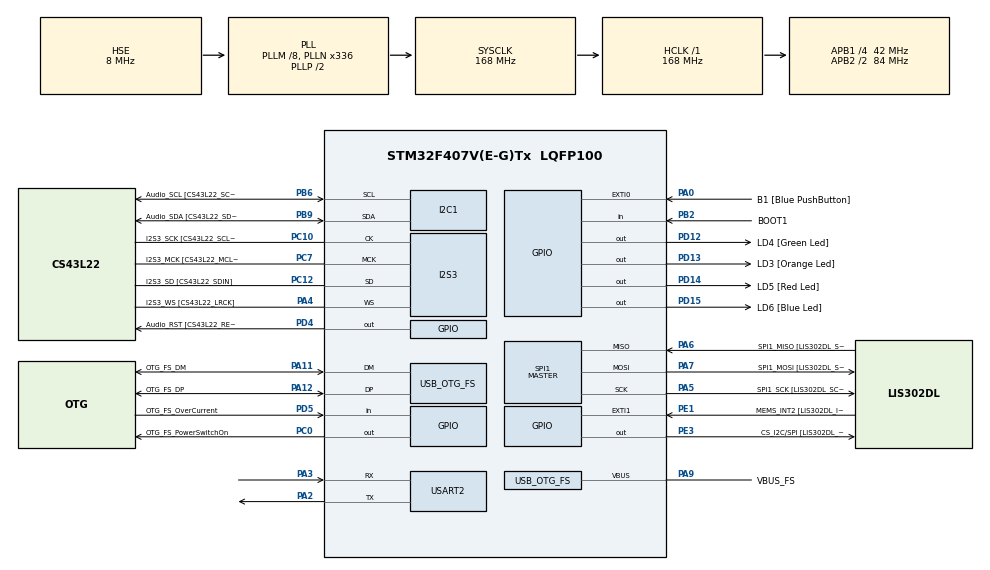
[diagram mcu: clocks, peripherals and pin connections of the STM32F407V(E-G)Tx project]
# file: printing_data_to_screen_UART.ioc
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I2S3.AudioFreq-Half_Duplex_Master=I2S_AUDIOFREQ_96K
I2S3.ErrorAudioFreq=-2.34 %
I2S3.ErrorAudioFreq-Half_Duplex_Master=0.8 %
I2S3.FullDuplexMode=I2S_FULLDUPLEXMODE_DISABLE
I2S3.Instance=SPI$Index
I2S3.RealAudioFreq=93.75 KHz
I2S3.RealAudioFreq-Half_Duplex_Master=96.774 KHz
I2S3.VirtualMode=I2S_MODE_MASTER
Mcu.Family=STM32F4
Mcu.Name=STM32F407V(E-G)Tx
Mcu.Package=LQFP100
NVIC.OTG_FS_IRQn=true\:0\:0\:false\:false\:true\:true\:true\:true
NVIC.PriorityGroup=NVIC_PRIORITYGROUP_0
NVIC.USART2_IRQn=true\:0\:0\:false\:false\:true\:true\:true\:true
PA0-WKUP.GPIO_Label=B1 [Blue PushButton]
PA0-WKUP.GPIO_ModeDefaultEXTI=GPIO_MODE_EVT_RISING
PA0-WKUP.GPIO_PuPd=GPIO_NOPULL
PA0-WKUP.Signal=GPXTI0
PA10.GPIO_Label=OTG_FS_ID
PA10.GPIO_Mode=GPIO_MODE_AF_PP
PA10.GPIO_PuPd=GPIO_NOPULL
PA10.GPIO_Speed=GPIO_SPEED_FREQ_LOW
PA10.Signal=USB_OTG_FS_ID
PA11.GPIO_Label=OTG_FS_DM
PA11.GPIO_Mode=GPIO_MODE_AF_PP
PA11.GPIO_PuPd=GPIO_NOPULL
PA11.GPIO_Speed=GPIO_SPEED_FREQ_LOW
PA11.Mode=Host_Only
PA11.Signal=USB_OTG_FS_DM
PA12.GPIO_Label=OTG_FS_DP
PA12.GPIO_Mode=GPIO_MODE_AF_PP
PA12.GPIO_PuPd=GPIO_NOPULL
PA12.GPIO_Speed=GPIO_SPEED_FREQ_LOW
PA12.Mode=Host_Only
PA12.Signal=USB_OTG_FS_DP
PA13.GPIO_Label=SWDIO
PA13.Mode=Serial_Wire
PA13.Signal=SYS_JTMS-SWDIO
PA14.GPIO_Label=SWCLK
PA14.Mode=Serial_Wire
PA14.Signal=SYS_JTCK-SWCLK
PA2.Mode=Asynchronous
PA2.Signal=USART2_TX
PA3.Mode=Asynchronous
PA3.Signal=USART2_RX
PA4.GPIO_Label=I2S3_WS [CS43L22_LRCK]
PA4.GPIO_Mode=GPIO_MODE_AF_PP
PA4.GPIO_PuPd=GPIO_NOPULL
PA4.GPIO_Speed=GPIO_SPEED_FREQ_LOW
PA4.Mode=Half_Duplex_Master
PA4.Signal=I2S3_WS
PA5.GPIO_Label=SPI1_SCK [LIS302DL_SCL/SPC]
PA5.GPIO_Mode=GPIO_MODE_AF_PP
PA5.GPIO_PuPd=GPIO_NOPULL
PA5.GPIO_Speed=GPIO_SPEED_FREQ_LOW
PA5.Mode=Full_Duplex_Master
PA5.Signal=SPI1_SCK
PA6.GPIO_Label=SPI1_MISO [LIS302DL_SDO]
PA6.GPIO_Mode=GPIO_MODE_AF_PP
PA6.GPIO_PuPd=GPIO_NOPULL
PA6.GPIO_Speed=GPIO_SPEED_FREQ_LOW
PA6.Mode=Full_Duplex_Master
PA6.Signal=SPI1_MISO
PA7.GPIO_Label=SPI1_MOSI [LIS302DL_SDA/SDI/SDO]
PA7.GPIO_Mode=GPIO_MODE_AF_PP
PA7.GPIO_PuPd=GPIO_NOPULL
PA7.GPIO_Speed=GPIO_SPEED_FREQ_LOW
PA7.Mode=Full_Duplex_Master
PA7.Signal=SPI1_MOSI
PA9.GPIO_Label=VBUS_FS
PA9.GPIO_Mode=GPIO_MODE_INPUT
PA9.GPIO_PuPd=GPIO_NOPULL
PA9.Mode=Activate_VBUS
PA9.Signal=USB_OTG_FS_VBUS
PB10.GPIO_Label=CLK_IN [MP45DT02_CLK]
PB10.GPIO_Mode=GPIO_MODE_AF_PP
PB10.GPIO_PuPd=GPIO_NOPULL
PB10.GPIO_Speed=GPIO_SPEED_FREQ_LOW
PB10.Signal=I2S2_CK
PB2.GPIO_Label=BOOT1
PB2.GPIO_Mode=GPIO_MODE_INPUT
PB2.GPIO_PuPd=GPIO_NOPULL
PB2.Signal=GPIO_Input
PB3.GPIO_Label=SWO
PB3.Signal=SYS_JTDO-SWO
PB6.GPIO_Label=Audio_SCL [CS43L22_SCL]
PB6.GPIO_Mode=GPIO_MODE_AF_OD
PB6.GPIO_Pu=GPIO_PULLUP
PB6.GPIO_PuPd=GPIO_NOPULL
PB6.GPIO_Speed=GPIO_SPEED_FREQ_LOW
PB6.Mode=I2C
PB6.Signal=I2C1_SCL
PB9.GPIO_Label=Audio_SDA [CS43L22_SDA]
PB9.GPIO_Mode=GPIO_MODE_AF_OD
PB9.GPIO_Pu=GPIO_PULLUP
PB9.GPIO_PuPd=GPIO_NOPULL
PB9.GPIO_Speed=GPIO_SPEED_FREQ_LOW
PB9.Mode=I2C
PB9.Signal=I2C1_SDA
PC0.GPIO_Label=OTG_FS_PowerSwitchOn
PC0.GPIO_PuPd=GPIO_NOPULL
PC0.GPIO_Speed=GPIO_SPEED_FREQ_LOW
PC0.PinState=GPIO_PIN_SET
PC0.Signal=GPIO_Output
PC10.GPIO_Label=I2S3_SCK [CS43L22_SCLK]
PC10.GPIO_Mode=GPIO_MODE_AF_PP
PC10.GPIO_PuPd=GPIO_NOPULL
PC10.GPIO_Speed=GPIO_SPEED_FREQ_LOW
PC10.Mode=Half_Duplex_Master
PC10.Signal=I2S3_CK
PC12.GPIO_Label=I2S3_SD [CS43L22_SDIN]
PC12.GPIO_Mode=GPIO_MODE_AF_PP
PC12.GPIO_PuPd=GPIO_NOPULL
PC12.GPIO_Speed=GPIO_SPEED_FREQ_LOW
PC12.Mode=Half_Duplex_Master
PC12.Signal=I2S3_SD
PC14-OSC32_IN.GPIO_Label=PC14-OSC32_IN
PC14-OSC32_IN.Mode=LSE-External-Oscillator
PC14-OSC32_IN.Signal=RCC_OSC32_IN
PC15-OSC32_OUT.GPIO_Label=PC15-OSC32_OUT
PC15-OSC32_OUT.Mode=LSE-External-Oscillator
PC15-OSC32_OUT.Signal=RCC_OSC32_OUT
PC3.GPIO_Label=PDM_OUT [MP45DT02_DOUT]
PC3.GPIO_Mode=GPIO_MODE_AF_PP
PC3.GPIO_PuPd=GPIO_NOPULL
PC3.GPIO_Speed=GPIO_SPEED_FREQ_LOW
PC3.Signal=I2S2_SD
PC7.GPIO_Label=I2S3_MCK [CS43L22_MCLK]
PC7.GPIO_Mode=GPIO_MODE_AF_PP
PC7.GPIO_PuPd=GPIO_NOPULL
PC7.GPIO_Speed=GPIO_SPEED_FREQ_LOW
PC7.Mode=Master_Clock_Activated
PC7.Signal=I2S3_MCK
PD12.GPIO_Label=LD4 [Green Led]
PD12.GPIO_PuPd=GPIO_NOPULL
PD12.GPIO_Speed=GPIO_SPEED_FREQ_LOW
PD12.Signal=GPIO_Output
PD13.GPIO_Label=LD3 [Orange Led]
PD13.GPIO_PuPd=GPIO_NOPULL
PD13.GPIO_Speed=GPIO_SPEED_FREQ_LOW
PD13.Signal=GPIO_Output
PD14.GPIO_Label=LD5 [Red Led]
PD14.GPIO_PuPd=GPIO_NOPULL
PD14.GPIO_Speed=GPIO_SPEED_FREQ_LOW
PD14.Signal=GPIO_Output
PD15.GPIO_Label=LD6 [Blue Led]
PD15.GPIO_PuPd=GPIO_NOPULL
PD15.GPIO_Speed=GPIO_SPEED_FREQ_LOW
PD15.Signal=GPIO_Output
PD4.GPIO_Label=Audio_RST [CS43L22_RESET]
PD4.GPIO_PuPd=GPIO_NOPULL
PD4.GPIO_Speed=GPIO_SPEED_FREQ_LOW
PD4.Signal=GPIO_Output
PD5.GPIO_Label=OTG_FS_OverCurrent
PD5.GPIO_Mode=GPIO_MODE_INPUT
PD5.GPIO_PuPd=GPIO_NOPULL
PD5.Signal=GPIO_Input
PE1.GPIO_Label=MEMS_INT2 [LIS302DL_INT2]
PE1.GPIO_ModeDefaultEXTI=GPIO_MODE_EVT_RISING
PE1.GPIO_PuPd=GPIO_NOPULL
PE1.Signal=GPXTI1
PE3.GPIO_Label=CS_I2C/SPI [LIS302DL_CS_I2C/SPI]
PE3.GPIO_PuPd=GPIO_NOPULL
PE3.GPIO_Speed=GPIO_SPEED_FREQ_LOW
PE3.Signal=GPIO_Output
PH0-OSC_IN.GPIO_Label=PH0-OSC_IN
PH0-OSC_IN.Mode=HSE-External-Oscillator
PH0-OSC_IN.Signal=RCC_OSC_IN
PH1-OSC_OUT.GPIO_Label=PH1-OSC_OUT
PH1-OSC_OUT.Mode=HSE-External-Oscillator
PH1-OSC_OUT.Signal=RCC_OSC_OUT
ProjectManager.HeapSize=0x200
ProjectManager.StackSize=0x400
ProjectManager.TargetToolchain=STM32CubeIDE
RCC.48MHZClocksFreq_Value=48000000
RCC.AHBFreq_Value=168000000
RCC.APB1CLKDivider=RCC_HCLK_DIV4
RCC.APB1Freq_Value=42000000
RCC.APB1TimFreq_Value=84000000
RCC.APB2CLKDivider=RCC_HCLK_DIV2
RCC.APB2Freq_Value=84000000
RCC.APB2TimFreq_Value=168000000
RCC.CortexFreq_Value=168000000
RCC.HCLKFreq_Value=168000000
RCC.HSE_VALUE=8000000
RCC.HSI_VALUE=16000000
RCC.PLLM=8
RCC.PLLN=336
RCC.PLLQ=7
RCC.SYSCLKFreq_VALUE=168000000
RCC.SYSCLKSource=RCC_SYSCLKSOURCE_PLLCLK
RCC.VCOOutputFreq_Value=336000000
SPI1.BaudRatePrescaler-Full_Duplex_Master=SPI_BAUDRATEPRESCALER_2
SPI1.CalculateBaudRate-Full_Duplex_Master=42.0 MBits/s
SPI1.Direction=SPI_DIRECTION_2LINES
SPI1.Mode=SPI_MODE_MASTER
SPI1.Mode-Full_Duplex_Master=SPI_MODE_MASTER
SPI1.VirtualType=VM_MASTER
USART2.VirtualMode=VM_ASYNC
USB_HOST.BSP.number=1
USB_HOST.USBH_HandleTypeDef-CDC_FS=hUsbHostFS
USB_HOST.VirtualModeFS=Cdc
USB_HOST0.BSP.STBoard=false
USB_HOST0.BSP.api=Unknown
USB_HOST0.BSP.instance=PC0
USB_HOST0.BSP.ip=GPIO
USB_HOST0.BSP.mode=Output
USB_HOST0.BSP.name=Drive_VBUS_FS
USB_HOST0.BSP.solution=PC0
USB_OTG_FS.VirtualMode=Host_Only
USB_OTG_FS.phy_itface=HCD_PHY_EMBEDDED
VP_USB_HOST_VS_USB_HOST_CDC_FS.Mode=CDC_FS
board=STM32F407G-DISC1

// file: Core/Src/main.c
/* USER CODE BEGIN Header */
/**
  ******************************************************************************
  * @file           : main.c
  * @brief          : Main program body
  ******************************************************************************
  * @attention
  *
  * Copyright (c) 2026 STMicroelectronics.
  * All rights reserved.
  *
  * This software is licensed under terms that can be found in the LICENSE file
  * in the root directory of this software component.
  * If no LICENSE file comes with this software, it is provided AS-IS.
  *
  ******************************************************************************
  */
/* USER CODE END Header */
#include "main.h"
#include "usb_host.h"

/* USER CODE BEGIN Includes */
#include<stdio.h>
#include<string.h>
/* USER CODE END Includes */

I2C_HandleTypeDef hi2c1;

I2S_HandleTypeDef hi2s3;

SPI_HandleTypeDef hspi1;

UART_HandleTypeDef huart2;

/* USER CODE BEGIN PV */
uint8_t status = 0;
uint32_t total_second = 0;
uint32_t time1 = 0;
char buffer[40];
uint8_t counter = 0;
uint8_t minute = 0;
uint8_t second = 0;
uint8_t end[] = {0xFF,0xFF,0xFF};
/* USER CODE END PV */

void SystemClock_Config(void);
static void MX_GPIO_Init(void);
static void MX_I2C1_Init(void);
static void MX_I2S3_Init(void);
static void MX_SPI1_Init(void);
static void MX_USART2_UART_Init(void);
void MX_USB_HOST_Process(void);

/* USER CODE BEGIN PFP */
void count(void);
void time(void);
/* USER CODE END PFP */

int main(void)
{

  /* MCU Configuration--------------------------------------------------------*/

  /* Reset of all peripherals, Initializes the Flash interface and the Systick. */
  HAL_Init();

  /* Configure the system clock */
  SystemClock_Config();

  /* Initialize all configured peripherals */
  MX_GPIO_Init();
  MX_I2C1_Init();
  MX_I2S3_Init();
  MX_SPI1_Init();
  MX_USART2_UART_Init();
  MX_USB_HOST_Init();

  /* Infinite loop */
  while (1)
  {
    MX_USB_HOST_Process();

    /* USER CODE BEGIN 3 */
    count();
    time();

  }
  /* USER CODE END 3 */
}

void SystemClock_Config(void)
{
  RCC_OscInitTypeDef RCC_OscInitStruct = {0};
  RCC_ClkInitTypeDef RCC_ClkInitStruct = {0};

  /** Configure the main internal regulator output voltage
  */
  __HAL_RCC_PWR_CLK_ENABLE();
  __HAL_PWR_VOLTAGESCALING_CONFIG(PWR_REGULATOR_VOLTAGE_SCALE1);

  /** Initializes the RCC Oscillators according to the specified parameters
  * in the RCC_OscInitTypeDef structure.
  */
  RCC_OscInitStruct.OscillatorType = RCC_OSCILLATORTYPE_HSE;
  RCC_OscInitStruct.HSEState = RCC_HSE_ON;
  RCC_OscInitStruct.PLL.PLLState = RCC_PLL_ON;
  RCC_OscInitStruct.PLL.PLLSource = RCC_PLLSOURCE_HSE;
  RCC_OscInitStruct.PLL.PLLM = 8;
  RCC_OscInitStruct.PLL.PLLN = 336;
  RCC_OscInitStruct.PLL.PLLP = RCC_PLLP_DIV2;
  RCC_OscInitStruct.PLL.PLLQ = 7;
  if (HAL_RCC_OscConfig(&RCC_OscInitStruct) != HAL_OK)
  {
    Error_Handler();
  }

  /** Initializes the CPU, AHB and APB buses clocks
  */
  RCC_ClkInitStruct.ClockType = RCC_CLOCKTYPE_HCLK|RCC_CLOCKTYPE_SYSCLK
                              |RCC_CLOCKTYPE_PCLK1|RCC_CLOCKTYPE_PCLK2;
  RCC_ClkInitStruct.SYSCLKSource = RCC_SYSCLKSOURCE_PLLCLK;
  RCC_ClkInitStruct.AHBCLKDivider = RCC_SYSCLK_DIV1;
  RCC_ClkInitStruct.APB1CLKDivider = RCC_HCLK_DIV4;
  RCC_ClkInitStruct.APB2CLKDivider = RCC_HCLK_DIV2;

  if (HAL_RCC_ClockConfig(&RCC_ClkInitStruct, FLASH_LATENCY_5) != HAL_OK)
  {
    Error_Handler();
  }
}

static void MX_I2C1_Init(void)
{

  hi2c1.Instance = I2C1;
  hi2c1.Init.ClockSpeed = 100000;
  hi2c1.Init.DutyCycle = I2C_DUTYCYCLE_2;
  hi2c1.Init.OwnAddress1 = 0;
  hi2c1.Init.AddressingMode = I2C_ADDRESSINGMODE_7BIT;
  hi2c1.Init.DualAddressMode = I2C_DUALADDRESS_DISABLE;
  hi2c1.Init.OwnAddress2 = 0;
  hi2c1.Init.GeneralCallMode = I2C_GENERALCALL_DISABLE;
  hi2c1.Init.NoStretchMode = I2C_NOSTRETCH_DISABLE;
  if (HAL_I2C_Init(&hi2c1) != HAL_OK)
  {
    Error_Handler();
  }

}

static void MX_I2S3_Init(void)
{

  hi2s3.Instance = SPI3;
  hi2s3.Init.Mode = I2S_MODE_MASTER_TX;
  hi2s3.Init.Standard = I2S_STANDARD_PHILIPS;
  hi2s3.Init.DataFormat = I2S_DATAFORMAT_16B;
  hi2s3.Init.MCLKOutput = I2S_MCLKOUTPUT_ENABLE;
  hi2s3.Init.AudioFreq = I2S_AUDIOFREQ_96K;
  hi2s3.Init.CPOL = I2S_CPOL_LOW;
  hi2s3.Init.ClockSource = I2S_CLOCK_PLL;
  hi2s3.Init.FullDuplexMode = I2S_FULLDUPLEXMODE_DISABLE;
  if (HAL_I2S_Init(&hi2s3) != HAL_OK)
  {
    Error_Handler();
  }

}

static void MX_SPI1_Init(void)
{

  /* SPI1 parameter configuration*/
  hspi1.Instance = SPI1;
  hspi1.Init.Mode = SPI_MODE_MASTER;
  hspi1.Init.Direction = SPI_DIRECTION_2LINES;
  hspi1.Init.DataSize = SPI_DATASIZE_8BIT;
  hspi1.Init.CLKPolarity = SPI_POLARITY_LOW;
  hspi1.Init.CLKPhase = SPI_PHASE_1EDGE;
  hspi1.Init.NSS = SPI_NSS_SOFT;
  hspi1.Init.BaudRatePrescaler = SPI_BAUDRATEPRESCALER_2;
  hspi1.Init.FirstBit = SPI_FIRSTBIT_MSB;
  hspi1.Init.TIMode = SPI_TIMODE_DISABLE;
  hspi1.Init.CRCCalculation = SPI_CRCCALCULATION_DISABLE;
  hspi1.Init.CRCPolynomial = 10;
  if (HAL_SPI_Init(&hspi1) != HAL_OK)
  {
    Error_Handler();
  }

}

static void MX_USART2_UART_Init(void)
{

  huart2.Instance = USART2;
  huart2.Init.BaudRate = 115200;
  huart2.Init.WordLength = UART_WORDLENGTH_8B;
  huart2.Init.StopBits = UART_STOPBITS_1;
  huart2.Init.Parity = UART_PARITY_NONE;
  huart2.Init.Mode = UART_MODE_TX_RX;
  huart2.Init.HwFlowCtl = UART_HWCONTROL_NONE;
  huart2.Init.OverSampling = UART_OVERSAMPLING_16;
  if (HAL_UART_Init(&huart2) != HAL_OK)
  {
    Error_Handler();
  }

}

static void MX_GPIO_Init(void)
{
  GPIO_InitTypeDef GPIO_InitStruct = {0};

  /* GPIO Ports Clock Enable */
  __HAL_RCC_GPIOE_CLK_ENABLE();
  __HAL_RCC_GPIOC_CLK_ENABLE();
  __HAL_RCC_GPIOH_CLK_ENABLE();
  __HAL_RCC_GPIOA_CLK_ENABLE();
  __HAL_RCC_GPIOB_CLK_ENABLE();
  __HAL_RCC_GPIOD_CLK_ENABLE();

  /*Configure GPIO pin Output Level */
  HAL_GPIO_WritePin(CS_I2C_SPI_GPIO_Port, CS_I2C_SPI_Pin, GPIO_PIN_RESET);

  /*Configure GPIO pin Output Level */
  HAL_GPIO_WritePin(OTG_FS_PowerSwitchOn_GPIO_Port, OTG_FS_PowerSwitchOn_Pin, GPIO_PIN_SET);

  /*Configure GPIO pin Output Level */
  HAL_GPIO_WritePin(GPIOD, LD4_Pin|LD3_Pin|LD5_Pin|LD6_Pin
                          |Audio_RST_Pin, GPIO_PIN_RESET);

  /*Configure GPIO pin : CS_I2C_SPI_Pin */
  GPIO_InitStruct.Pin = CS_I2C_SPI_Pin;
  GPIO_InitStruct.Mode = GPIO_MODE_OUTPUT_PP;
  GPIO_InitStruct.Pull = GPIO_NOPULL;
  GPIO_InitStruct.Speed = GPIO_SPEED_FREQ_LOW;
  HAL_GPIO_Init(CS_I2C_SPI_GPIO_Port, &GPIO_InitStruct);

  /*Configure GPIO pin : OTG_FS_PowerSwitchOn_Pin */
  GPIO_InitStruct.Pin = OTG_FS_PowerSwitchOn_Pin;
  GPIO_InitStruct.Mode = GPIO_MODE_OUTPUT_PP;
  GPIO_InitStruct.Pull = GPIO_NOPULL;
  GPIO_InitStruct.Speed = GPIO_SPEED_FREQ_LOW;
  HAL_GPIO_Init(OTG_FS_PowerSwitchOn_GPIO_Port, &GPIO_InitStruct);

  /*Configure GPIO pin : PDM_OUT_Pin */
  GPIO_InitStruct.Pin = PDM_OUT_Pin;
  GPIO_InitStruct.Mode = GPIO_MODE_AF_PP;
  GPIO_InitStruct.Pull = GPIO_NOPULL;
  GPIO_InitStruct.Speed = GPIO_SPEED_FREQ_LOW;
  GPIO_InitStruct.Alternate = GPIO_AF5_SPI2;
  HAL_GPIO_Init(PDM_OUT_GPIO_Port, &GPIO_InitStruct);

  /*Configure GPIO pin : B1_Pin */
  GPIO_InitStruct.Pin = B1_Pin;
  GPIO_InitStruct.Mode = GPIO_MODE_EVT_RISING;
  GPIO_InitStruct.Pull = GPIO_NOPULL;
  HAL_GPIO_Init(B1_GPIO_Port, &GPIO_InitStruct);

  /*Configure GPIO pin : BOOT1_Pin */
  GPIO_InitStruct.Pin = BOOT1_Pin;
  GPIO_InitStruct.Mode = GPIO_MODE_INPUT;
  GPIO_InitStruct.Pull = GPIO_NOPULL;
  HAL_GPIO_Init(BOOT1_GPIO_Port, &GPIO_InitStruct);

  /*Configure GPIO pin : CLK_IN_Pin */
  GPIO_InitStruct.Pin = CLK_IN_Pin;
  GPIO_InitStruct.Mode = GPIO_MODE_AF_PP;
  GPIO_InitStruct.Pull = GPIO_NOPULL;
  GPIO_InitStruct.Speed = GPIO_SPEED_FREQ_LOW;
  GPIO_InitStruct.Alternate = GPIO_AF5_SPI2;
  HAL_GPIO_Init(CLK_IN_GPIO_Port, &GPIO_InitStruct);

  /*Configure GPIO pins : LD4_Pin LD3_Pin LD5_Pin LD6_Pin
                           Audio_RST_Pin */
  GPIO_InitStruct.Pin = LD4_Pin|LD3_Pin|LD5_Pin|LD6_Pin
                          |Audio_RST_Pin;
  GPIO_InitStruct.Mode = GPIO_MODE_OUTPUT_PP;
  GPIO_InitStruct.Pull = GPIO_NOPULL;
  GPIO_InitStruct.Speed = GPIO_SPEED_FREQ_LOW;
  HAL_GPIO_Init(GPIOD, &GPIO_InitStruct);

  /*Configure GPIO pin : OTG_FS_OverCurrent_Pin */
  GPIO_InitStruct.Pin = OTG_FS_OverCurrent_Pin;
  GPIO_InitStruct.Mode = GPIO_MODE_INPUT;
  GPIO_InitStruct.Pull = GPIO_NOPULL;
  HAL_GPIO_Init(OTG_FS_OverCurrent_GPIO_Port, &GPIO_InitStruct);

  /*Configure GPIO pin : MEMS_INT2_Pin */
  GPIO_InitStruct.Pin = MEMS_INT2_Pin;
  GPIO_InitStruct.Mode = GPIO_MODE_EVT_RISING;
  GPIO_InitStruct.Pull = GPIO_NOPULL;
  HAL_GPIO_Init(MEMS_INT2_GPIO_Port, &GPIO_InitStruct);

}

/* USER CODE BEGIN 4 */
void time(void){
	total_second = HAL_GetTick() / 1000;
	minute = total_second / 60;
	second = total_second % 60;
	    sprintf(buffer,"t1.txt=\"%02d:%02d\"",minute,second);
	    HAL_UART_Transmit(&huart2,(uint8_t *)buffer,strlen(buffer),100);
	    HAL_UART_Transmit(&huart2,end,3,100);

}

void count(void){
	if((HAL_GetTick() - time1) >= 1000 && status == 0){
		counter++;
	    sprintf(buffer,"t0.txt=\"%d\"",counter);
	    HAL_UART_Transmit(&huart2,(uint8_t *)buffer,strlen(buffer),100);
	    HAL_UART_Transmit(&huart2,end,3,100);
		time1 = HAL_GetTick();
	}
	if(status && (HAL_GetTick() - time1) >= 1000){
		counter--;
	    sprintf(buffer,"t0.txt=\"%d\"",counter);
	    HAL_UART_Transmit(&huart2,(uint8_t *)buffer,strlen(buffer),100);
	    HAL_UART_Transmit(&huart2,end,3,100);
	    time1 = HAL_GetTick();
	}
	if(counter >=30){
		status = 1;
	}
	if(counter == 0){
		status = 0;
	}
}

/* USER CODE END 4 */

void Error_Handler(void)
{
  __disable_irq();
  while (1)
  {
  }
}
